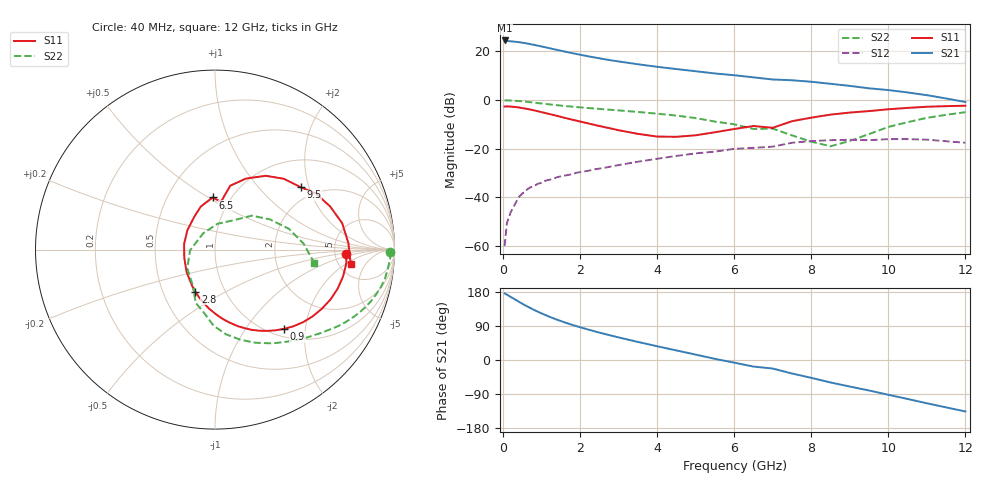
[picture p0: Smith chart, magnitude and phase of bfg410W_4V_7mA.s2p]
! Filename: 47bfg410.001
! BFG410W Field B1
! V1=8.548E-001V,V2=4.000E+000V, I1=9.262E-005A, I2=7.010E-003A
# GHz  S  MA  R 50
!  S11  S21  S12  S22
!Freq(GHz)  Mag  Ang  Mag  Ang  Mag  Ang  Mag  Ang
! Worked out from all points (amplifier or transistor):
!   44 points, 40 MHz to 12 GHz, reference 50 ohm
!   highest |S21| = 24.4 dB at 40 MHz (marker M1)
!   |S21| within 3 dB of that: start of sweep to 1.154 GHz
!   unconditionally stable (mu >= 1): start of sweep to 45.91 MHz; 2.264 GHz to end of sweep
!   at 700 MHz: K = 0.43, MSG = 29.4 dB, |S12| = -35.9 dB
!   at 2.4 GHz: K = 1.03, MAG = 21.9 dB, |S12| = -28.4 dB
!   at 12 GHz: K = 1.54, MAG = 4.0 dB, |S12| = -17.6 dB
!   S11 on the Smith chart (normalised r, x): 40 MHz: 6.35, -0.74; 900 MHz: 1.15, -1.54; 2.8 GHz: 0.72, -0.36; 6.5 GHz: 0.82, +0.52; 9.5 GHz: 1.65, +1.76; 12 GHz: 6.44, -2.37
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0.04  0.731 -2.1  16.57 175.7  0.001 45.5  0.976 -0.8
0.1  0.736 -5.9  16.19 172.6  0.003 75.5  0.977 -3.0
0.3  0.717 -17.7  15.64 160.5  0.007 76.0  0.961 -9.5
0.5  0.68 -29.1  14.94 148.4  0.012 70.5  0.932 -15.5
0.6  0.659 -34.4  14.47 142.8  0.014 68.6  0.916 -18.2
0.7  0.636 -39.5  13.96 137.6  0.016 66.3  0.898 -20.8
0.9  0.586 -48.9  12.98 127.6  0.019 62.7  0.862 -25.5
1.2  0.514 -61.5  11.51 114.3  0.023 58.1  0.81 -31.6
1.5  0.449 -72.7  10.19 102.8  0.027 55.1  0.764 -36.6
1.8  0.392 -82.9  9.077 92.6  0.03 52.8  0.726 -41.3
2.2  0.331 -95.6  7.87 80.6  0.035 50.3  0.682 -47.3
2.8  0.259 -115.2  6.501 64.5  0.043 46.7  0.626 -56.0
3.5  0.201 -142.1  5.38 47.7  0.054 41.5  0.566 -66.5
4.5  0.175 169.6  4.29 25.2  0.071 31.1  0.476 -82.6
5.5  0.217 122.0  3.487 3.0  0.087 16.9  0.359 -99.6
6.5  0.291 92.5  2.899 -17.3  0.104 3.8  0.253 -118.5
7  0.268 82.9  2.621 -22.5  0.11 9.2  0.258 -115.9
8  0.432 66.4  2.355 -47.1  0.143 -16.8  0.139 -178.4
8.5  0.499 55.5  2.138 -59.3  0.149 -29.4  0.112 126.0
9.5  0.59 36.2  1.727 -80.5  0.149 -49.6  0.199 56.2
10.5  0.685 20.6  1.422 -102.8  0.157 -70.6  0.349 28.9
12  0.76 -5.9  0.905 -135.8  0.132 -109.7  0.559 -7.8
